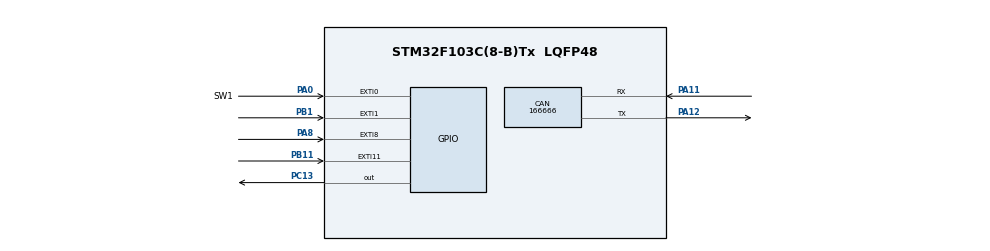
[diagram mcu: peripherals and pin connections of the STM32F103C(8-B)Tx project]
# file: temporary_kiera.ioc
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CAN.CalculateBaudRate=166666
CAN.CalculateTimeBit=6000
CAN.CalculateTimeQuantum=2000.0
Mcu.Family=STM32F1
Mcu.Name=STM32F103C(8-B)Tx
Mcu.Package=LQFP48
NVIC.EXTI0_IRQn=true\:0\:0\:false\:false\:true\:true\:true\:true
NVIC.PriorityGroup=NVIC_PRIORITYGROUP_4
PA0-WKUP.GPIO_Label=SW1
PA0-WKUP.Signal=GPXTI0
PA11.Mode=CAN_Activate
PA11.Signal=CAN_RX
PA12.Mode=CAN_Activate
PA12.Signal=CAN_TX
PA8.Signal=GPXTI8
PB1.Signal=GPXTI1
PB11.Signal=GPXTI11
PC13-TAMPER-RTC.Signal=GPIO_Output
ProjectManager.HeapSize=0x200
ProjectManager.StackSize=0x400
ProjectManager.TargetToolchain=STM32CubeIDE
RCC.APB1Freq_Value=8000000
RCC.APB2Freq_Value=8000000
VP_SYS_VS_ND.Mode=No_Debug
board=custom

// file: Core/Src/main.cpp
/* USER CODE BEGIN Header */
/**
  ******************************************************************************
  * @file           : main.c
  * @brief          : Main program body
  ******************************************************************************
  * @attention
  *
  * Copyright (c) 2022 STMicroelectronics.
  * All rights reserved.
  *
  * This software is licensed under terms that can be found in the LICENSE file
  * in the root directory of this software component.
  * If no LICENSE file comes with this software, it is provided AS-IS.
  *
  ******************************************************************************
  */
/* USER CODE END Header */
#include "main.h"

/* USER CODE BEGIN Includes */
#include <stdbool.h>

/* USER CODE END Includes */

 CAN_HandleTypeDef hcan1;

/* USER CODE BEGIN PV */

 bool sw3_pressed, sw4_pressed, sw5_pressed, sw6_pressed = 0;
/* USER CODE END PV */

void SystemClock_Config(void);
static void MX_GPIO_Init(void);
static void MX_CAN_Init(void);

int main(void)
{

  /* MCU Configuration--------------------------------------------------------*/

  /* Reset of all peripherals, Initializes the Flash interface and the Systick. */
  HAL_Init();

  /* Configure the system clock */
  SystemClock_Config();

  /* Initialize all configured peripherals */
  MX_GPIO_Init();
  MX_CAN_Init();
  /* USER CODE BEGIN 2 */
  HAL_ADC_Start_IT(&hadc1);

   CAN_FilterTypeDef sFilterConfig;
   sFilterConfig.FilterBank = 0;
   sFilterConfig.FilterMode = CAN_FILTERMODE_IDMASK;
   sFilterConfig.FilterScale = CAN_FILTERSCALE_32BIT;
   sFilterConfig.FilterIdHigh = 0x0000;
   sFilterConfig.FilterIdLow = 0x0000;
   sFilterConfig.FilterMaskIdHigh = 0x0000;
   sFilterConfig.FilterMaskIdLow = 0x0000;
   sFilterConfig.FilterFIFOAssignment = CAN_RX_FIFO0;
   sFilterConfig.FilterActivation = ENABLE;

 	if (HAL_CAN_ConfigFilter(&hcan1, &sFilterConfig) != HAL_OK) {
 		Error_Handler();
 	}

 	if (HAL_CAN_Start(&hcan1) != HAL_OK) {
 		Error_Handler();
 	}

 	if (HAL_CAN_ActivateNotification(&hcan1, CAN_IT_RX_FIFO0_MSG_PENDING | CAN_IT_TX_MAILBOX_EMPTY) != HAL_OK) {
 		Error_Handler();
 	}

   HAL_ADC_Start_DMA(&hadc1, (uint32_t*)left_adc_reading, 10);

   HAL_CAN_ActivateNotification(&hcan1, CAN_IT_RX_FIFO0_MSG_PENDING);
   //  HAL_ADC_Start_IT(&hadc2);
//   HAL_ADC_Start_DMA(&hadc1, (uint32_t*)right_adc_reading, 10);
   uint32_t timer = HAL_GetTick();
  /* USER CODE END 2 */

  /* Infinite loop */
  while (1)
  {

    /* USER CODE BEGIN 3 */
	  if (sw3_pressed or sw4_pressed or sw5_pressed or sw6_pressed) {
	  		  wait_for_second_button();
	  	  }

	  	  if (timer + 500 < HAL_GetTick())
	  	  {
	  		  heartbeat();
	  		  timer = HAL_GetTick();
	  	  }
  }
  /* USER CODE END 3 */
}

void SystemClock_Config(void)
{
  RCC_OscInitTypeDef RCC_OscInitStruct = {0};
  RCC_ClkInitTypeDef RCC_ClkInitStruct = {0};

  /** Initializes the RCC Oscillators according to the specified parameters
  * in the RCC_OscInitTypeDef structure.
  */
  RCC_OscInitStruct.OscillatorType = RCC_OSCILLATORTYPE_HSI;
  RCC_OscInitStruct.HSIState = RCC_HSI_ON;
  RCC_OscInitStruct.HSICalibrationValue = RCC_HSICALIBRATION_DEFAULT;
  RCC_OscInitStruct.PLL.PLLState = RCC_PLL_NONE;
  if (HAL_RCC_OscConfig(&RCC_OscInitStruct) != HAL_OK)
  {
    Error_Handler();
  }

  /** Initializes the CPU, AHB and APB buses clocks
  */
  RCC_ClkInitStruct.ClockType = RCC_CLOCKTYPE_HCLK|RCC_CLOCKTYPE_SYSCLK
                              |RCC_CLOCKTYPE_PCLK1|RCC_CLOCKTYPE_PCLK2;
  RCC_ClkInitStruct.SYSCLKSource = RCC_SYSCLKSOURCE_HSI;
  RCC_ClkInitStruct.AHBCLKDivider = RCC_SYSCLK_DIV1;
  RCC_ClkInitStruct.APB1CLKDivider = RCC_HCLK_DIV1;
  RCC_ClkInitStruct.APB2CLKDivider = RCC_HCLK_DIV1;

  if (HAL_RCC_ClockConfig(&RCC_ClkInitStruct, FLASH_LATENCY_0) != HAL_OK)
  {
    Error_Handler();
  }
}

static void MX_CAN_Init(void)
{

  hcan.Instance = CAN1;
  hcan.Init.Prescaler = 16;
  hcan.Init.Mode = CAN_MODE_NORMAL;
  hcan.Init.SyncJumpWidth = CAN_SJW_1TQ;
  hcan.Init.TimeSeg1 = CAN_BS1_1TQ;
  hcan.Init.TimeSeg2 = CAN_BS2_1TQ;
  hcan.Init.TimeTriggeredMode = DISABLE;
  hcan.Init.AutoBusOff = DISABLE;
  hcan.Init.AutoWakeUp = DISABLE;
  hcan.Init.AutoRetransmission = DISABLE;
  hcan.Init.ReceiveFifoLocked = DISABLE;
  hcan.Init.TransmitFifoPriority = DISABLE;
  if (HAL_CAN_Init(&hcan) != HAL_OK)
  {
    Error_Handler();
  }

}

static void MX_GPIO_Init(void)
{
  GPIO_InitTypeDef GPIO_InitStruct = {0};

  /* GPIO Ports Clock Enable */
  __HAL_RCC_GPIOC_CLK_ENABLE();
  __HAL_RCC_GPIOA_CLK_ENABLE();
  __HAL_RCC_GPIOB_CLK_ENABLE();

  /*Configure GPIO pin Output Level */
  HAL_GPIO_WritePin(GPIOC, GPIO_PIN_13, GPIO_PIN_RESET);

  /*Configure GPIO pin : PC13 */
  GPIO_InitStruct.Pin = GPIO_PIN_13;
  GPIO_InitStruct.Mode = GPIO_MODE_OUTPUT_PP;
  GPIO_InitStruct.Pull = GPIO_NOPULL;
  GPIO_InitStruct.Speed = GPIO_SPEED_FREQ_LOW;
  HAL_GPIO_Init(GPIOC, &GPIO_InitStruct);

  /*Configure GPIO pins : SW1_Pin PA8 */
  GPIO_InitStruct.Pin = SW1_Pin|GPIO_PIN_8;
  GPIO_InitStruct.Mode = GPIO_MODE_IT_RISING;
  GPIO_InitStruct.Pull = GPIO_NOPULL;
  HAL_GPIO_Init(GPIOA, &GPIO_InitStruct);

  /*Configure GPIO pins : PB1 PB11 */
  GPIO_InitStruct.Pin = GPIO_PIN_1|GPIO_PIN_11;
  GPIO_InitStruct.Mode = GPIO_MODE_IT_RISING;
  GPIO_InitStruct.Pull = GPIO_NOPULL;
  HAL_GPIO_Init(GPIOB, &GPIO_InitStruct);

  /* EXTI interrupt init*/
  HAL_NVIC_SetPriority(EXTI0_IRQn, 0, 0);
  HAL_NVIC_EnableIRQ(EXTI0_IRQn);

}

/* USER CODE BEGIN 4 */
void HAL_GPIO_EXTI_Callback(uint16_t GPIO_Pin)
{
	timer = HAL_GetTick();

	if (GPIO_Pin == SW3_Pin)
	{
		sw3_pressed = 1;
//		HAL_GPIO_TogglePin(ControlLed4_GPIO_Port, ControlLed4_Pin);
	} else if (GPIO_Pin == SW4_Pin)
	{
		sw4_pressed = 1;
//		HAL_GPIO_TogglePin(ControlLed3_GPIO_Port, ControlLed3_Pin);
	} else if (GPIO_Pin == SW5_Pin)
	{
		sw5_pressed = 1;
//		HAL_GPIO_TogglePin(ControlLed2_GPIO_Port, ControlLed2_Pin);
	} else if (GPIO_Pin == SW6_Pin)
	{
		sw6_pressed = 1;
//		HAL_GPIO_TogglePin(ControlLed1_GPIO_Port, ControlLed1_Pin);
	}
}

void heartbeat()
{

	PUTM_CAN::Steering_Wheel_main pcb_alive{0, PUTM_CAN::Steering_Wheel_states::OK};

	auto steering_wheel_heartbeat = PUTM_CAN::Can_tx_message<PUTM_CAN::Steering_Wheel_main>
	(pcb_alive, PUTM_CAN::can_tx_header_STEERING_WHEEL_MAIN);

 	steering_wheel_heartbeat.send(hcan1);
}

void wait_for_second_button()
{
	HAL_Delay(500);
	PUTM_CAN::Steering_Wheel_event button_pressed{};

	if (sw3_pressed && sw4_pressed)
	{
		button_pressed.button = PUTM_CAN::buttonStates::button1_2;
	} else if (sw3_pressed && sw5_pressed)
	{
		button_pressed.button = PUTM_CAN::buttonStates::button1_3;

	} else if (sw3_pressed && sw6_pressed)
	{
		button_pressed.button = PUTM_CAN::buttonStates::button1_4;
		HAL_GPIO_TogglePin(ControlLed4_GPIO_Port, ControlLed4_Pin);
	} else if (sw4_pressed && sw5_pressed)
	{
		button_pressed.button = PUTM_CAN::buttonStates::button2_3;
		HAL_GPIO_TogglePin(ControlLed1_GPIO_Port, ControlLed1_Pin);

	} else if (sw4_pressed && sw6_pressed)
	{
		button_pressed.button = PUTM_CAN::buttonStates::button2_4;
	} else if (sw5_pressed && sw6_pressed)
	{
		button_pressed.button = PUTM_CAN::buttonStates::button3_4;
	} else if (sw3_pressed) {
		button_pressed.button = PUTM_CAN::buttonStates::button1;
//		HAL_GPIO_TogglePin(ControlLed1_GPIO_Port, ControlLed1_Pin);
	} else if (sw4_pressed) {
		button_pressed.button = PUTM_CAN::buttonStates::button2;
		HAL_GPIO_TogglePin(ControlLed1_GPIO_Port, ControlLed1_Pin);

	} else if (sw5_pressed) {
		HAL_GPIO_TogglePin(ControlLed1_GPIO_Port, ControlLed1_Pin);
		button_pressed.button = PUTM_CAN::buttonStates::button3;
		HAL_GPIO_TogglePin(ControlLed1_GPIO_Port, ControlLed1_Pin);

	} else if (sw6_pressed) {
		HAL_GPIO_TogglePin(ControlLed1_GPIO_Port, ControlLed1_Pin);
		button_pressed.button = PUTM_CAN::buttonStates::button4;
	}

	auto steering_wheel_frame = PUTM_CAN::Can_tx_message<PUTM_CAN::Steering_Wheel_event>
	(button_pressed, PUTM_CAN::can_tx_header_STEERING_WHEEL_EVENT);

	auto status = steering_wheel_frame.send(hcan1);

	if (status not_eq HAL_OK) {
		//todo
	}

	reset_flags();

}

void reset_flags()
{
	sw3_pressed = 0;
	sw4_pressed = 0;
	sw5_pressed = 0;
	sw6_pressed = 0;
}
/* USER CODE END 4 */

void Error_Handler(void)
{
  __disable_irq();
  while (1)
  {
  }
}
